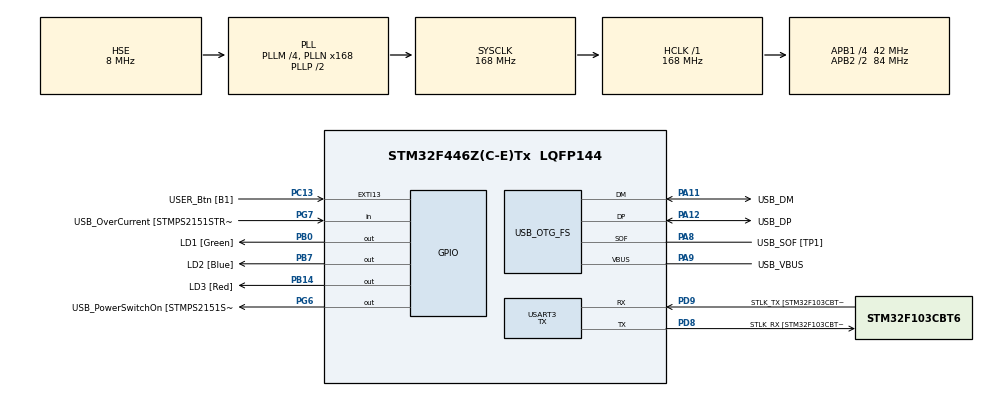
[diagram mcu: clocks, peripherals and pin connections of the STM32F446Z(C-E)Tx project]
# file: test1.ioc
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Dma.Request0=USART3_TX
Dma.USART3_TX.0.Direction=DMA_MEMORY_TO_PERIPH
Dma.USART3_TX.0.FIFOMode=DMA_FIFOMODE_DISABLE
Dma.USART3_TX.0.Instance=DMA1_Stream3
Dma.USART3_TX.0.MemDataAlignment=DMA_MDATAALIGN_BYTE
Dma.USART3_TX.0.MemInc=DMA_MINC_ENABLE
Dma.USART3_TX.0.Mode=DMA_NORMAL
Dma.USART3_TX.0.PeriphDataAlignment=DMA_PDATAALIGN_BYTE
Dma.USART3_TX.0.PeriphInc=DMA_PINC_DISABLE
Dma.USART3_TX.0.Priority=DMA_PRIORITY_VERY_HIGH
Mcu.Family=STM32F4
Mcu.Name=STM32F446Z(C-E)Tx
Mcu.Package=LQFP144
NVIC.DMA1_Stream3_IRQn=true\:0\:0\:false\:false\:true\:false\:true
NVIC.PriorityGroup=NVIC_PRIORITYGROUP_4
PA10.GPIO_Label=USB_ID
PA10.Signal=USB_OTG_FS_ID
PA11.GPIO_Label=USB_DM
PA11.Mode=Device_Only
PA11.Signal=USB_OTG_FS_DM
PA12.GPIO_Label=USB_DP
PA12.Mode=Device_Only
PA12.Signal=USB_OTG_FS_DP
PA13.GPIO_Label=TMS
PA13.Mode=Serial_Wire
PA13.Signal=SYS_JTMS-SWDIO
PA14.GPIO_Label=TCK
PA14.Mode=Serial_Wire
PA14.Signal=SYS_JTCK-SWCLK
PA8.GPIO_Label=USB_SOF [TP1]
PA8.Mode=Activate_SOF_FS
PA8.Signal=USB_OTG_FS_SOF
PA9.GPIO_Label=USB_VBUS
PA9.Mode=Activate_VBUS
PA9.Signal=USB_OTG_FS_VBUS
PB0.GPIO_Label=LD1 [Green]
PB0.Signal=GPIO_Output
PB14.GPIO_Label=LD3 [Red]
PB14.Signal=GPIO_Output
PB7.GPIO_Label=LD2 [Blue]
PB7.Signal=GPIO_Output
PC13.GPIO_Label=USER_Btn [B1]
PC13.Signal=GPXTI13
PC14-OSC32_IN.Mode=LSE-External-Oscillator
PC14-OSC32_IN.Signal=RCC_OSC32_IN
PC15-OSC32_OUT.Mode=LSE-External-Oscillator
PC15-OSC32_OUT.Signal=RCC_OSC32_OUT
PD8.GPIO_Label=STLK_RX [STM32F103CBT6_PA3]
PD8.Mode=Asynchronous
PD8.Signal=USART3_TX
PD9.GPIO_Label=STLK_TX [STM32F103CBT6_PA2]
PD9.Mode=Asynchronous
PD9.Signal=USART3_RX
PG6.GPIO_Label=USB_PowerSwitchOn [STMPS2151STR_EN]
PG6.Signal=GPIO_Output
PG7.GPIO_Label=USB_OverCurrent [STMPS2151STR_FAULT]
PG7.Signal=GPIO_Input
PH0-OSC_IN.GPIO_Label=MCO [STM32F103CBT6_PA8]
PH0-OSC_IN.Mode=HSE-External-Clock-Source
PH0-OSC_IN.Signal=RCC_OSC_IN
PH1-OSC_OUT.Mode=HSE-External-Clock-Source
PH1-OSC_OUT.Signal=RCC_OSC_OUT
ProjectManager.HeapSize=0x200
ProjectManager.StackSize=0x400
ProjectManager.TargetToolchain=STM32CubeIDE
RCC.48MHZClocksFreq_Value=24000000
RCC.AHBFreq_Value=168000000
RCC.APB1CLKDivider=RCC_HCLK_DIV4
RCC.APB1Freq_Value=42000000
RCC.APB1TimFreq_Value=84000000
RCC.APB2CLKDivider=RCC_HCLK_DIV2
RCC.APB2Freq_Value=84000000
RCC.APB2TimFreq_Value=168000000
RCC.CortexFreq_Value=168000000
RCC.HCLKFreq_Value=168000000
RCC.HSE_VALUE=8000000
RCC.HSI_VALUE=16000000
RCC.PLLM=4
RCC.PLLMUL=RCC_PLL_MUL9
RCC.PLLN=168
RCC.PLLQ=7
RCC.PRESCALERUSB=RCC_USBCLKSOURCE_PLL_DIV1_5
RCC.SYSCLKFreq_VALUE=168000000
RCC.SYSCLKSource=RCC_SYSCLKSOURCE_PLLCLK
RCC.SYSCLKSourceVirtual=RCC_SYSCLKSOURCE_PLLCLK
RCC.USBFreq_Value=48000000
RCC.VCOOutputFreq_Value=336000000
USART3.Mode=MODE_TX
USART3.VirtualMode=VM_ASYNC
USB_OTG_FS.VirtualMode=Device_Only
board=NUCLEO-F446ZE

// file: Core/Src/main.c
/* USER CODE BEGIN Header */
/**
  ******************************************************************************
  * @file           : main.c
  * @brief          : Main program body
  ******************************************************************************
  * @attention
  *
  * <h2><center>&copy; Copyright (c) 2022 STMicroelectronics.
  * All rights reserved.</center></h2>
  *
  * This software component is licensed by ST under BSD 3-Clause license,
  * the "License"; You may not use this file except in compliance with the
  * License. You may obtain a copy of the License at:
  *                        opensource.org/licenses/BSD-3-Clause
  *
  ******************************************************************************
  */
/* USER CODE END Header */
#include "main.h"

/* USER CODE BEGIN Includes */
#include <string.h>
/* USER CODE END Includes */

UART_HandleTypeDef huart3;
DMA_HandleTypeDef hdma_usart3_tx;

PCD_HandleTypeDef hpcd_USB_OTG_FS;

void SystemClock_Config(void);
static void MX_GPIO_Init(void);
static void MX_USART3_UART_Init(void);
static void MX_DMA_Init(void);
static void MX_USB_OTG_FS_PCD_Init(void);

/* USER CODE BEGIN 0 */
void DMA_Complete(DMA_HandleTypeDef *hdma) {
    huart3.Instance->CR3 &= ~USART_CR3_DMAT;
    // working call-back should toggle the blue led
    HAL_GPIO_TogglePin(GPIOB, GPIO_PIN_7);
}
/* USER CODE END 0 */

int main(void)
{
  /* USER CODE BEGIN 1 */
  char data[] = "I met a traveller from an antique land,\r\n" \
            "Who said—“Two vast and trunkless legs of stone\r\n" \
            "Stand in the desert. . . . Near them, on the sand,\r\n" \
            "Half sunk a shattered visage lies, whose frown,\r\n" \
            "And wrinkled lip, and sneer of cold command,\r\n" \
            "Tell that its sculptor well those passions read\r\n" \
            "Which yet survive, stamped on these lifeless things,\r\n" \
            "The hand that mocked them, and the heart that fed;\r\n" \
            "And on the pedestal, these words appear:\r\n" \
            "My name is Ozymandias, King of Kings;\r\n" \
            "Look on my Works, ye Mighty, and despair!\r\n" \
            "Nothing beside remains. Round the decay\r\n" \
            "Of that colossal Wreck, boundless and bare\r\n" \
            "The lone and level sands stretch far away.\r\n";
  /* USER CODE END 1 */

  /* MCU Configuration--------------------------------------------------------*/

  /* Reset of all peripherals, Initializes the Flash interface and the Systick. */
  HAL_Init();

  /* Configure the system clock */
  SystemClock_Config();

  /* USER CODE BEGIN SysInit */
  // Note: in the below section there's a known cubemx codegen bug where MX_DMA_Init()
  // is placed after other initialization. move it so it looks as follows
  /*
   *   MX_GPIO_Init();
   *   MX_DMA_Init();
   *   MX_USART3_UART_Init(); (or other things using dma)
   *   etc...
   */
  // before wasting time messing with register config stuff
  /* USER CODE END SysInit */

  /* Initialize all configured peripherals */
  MX_GPIO_Init();
  MX_DMA_Init();
  MX_USART3_UART_Init();
  MX_USB_OTG_FS_PCD_Init();
  /* USER CODE BEGIN 2 */
  HAL_DMA_RegisterCallback(&hdma_usart3_tx, HAL_DMA_XFER_CPLT_CB_ID, &DMA_Complete);
  /* USER CODE END 2 */

  /* Infinite loop */
  /* USER CODE BEGIN WHILE */

  while (1) {
	// toggle the green led before starting DMA. Blue is toggled in a call-back after finishing.
    HAL_GPIO_TogglePin(GPIOB, GPIO_PIN_0);
    huart3.Instance->CR3 |= USART_CR3_DMAT;
    HAL_DMA_Start_IT(&hdma_usart3_tx, (uint32_t)data,
            (uint32_t)&huart3.Instance->DR, strlen(data));
    HAL_Delay(1000);
    /* USER CODE END WHILE */

  }
}

void SystemClock_Config(void)
{
  RCC_OscInitTypeDef RCC_OscInitStruct = {0};
  RCC_ClkInitTypeDef RCC_ClkInitStruct = {0};

  /** Configure the main internal regulator output voltage
  */
  __HAL_RCC_PWR_CLK_ENABLE();
  __HAL_PWR_VOLTAGESCALING_CONFIG(PWR_REGULATOR_VOLTAGE_SCALE1);
  /** Initializes the RCC Oscillators according to the specified parameters
  * in the RCC_OscInitTypeDef structure.
  */
  RCC_OscInitStruct.OscillatorType = RCC_OSCILLATORTYPE_HSE;
  RCC_OscInitStruct.HSEState = RCC_HSE_BYPASS;
  RCC_OscInitStruct.PLL.PLLState = RCC_PLL_ON;
  RCC_OscInitStruct.PLL.PLLSource = RCC_PLLSOURCE_HSE;
  RCC_OscInitStruct.PLL.PLLM = 4;
  RCC_OscInitStruct.PLL.PLLN = 168;
  RCC_OscInitStruct.PLL.PLLP = RCC_PLLP_DIV2;
  RCC_OscInitStruct.PLL.PLLQ = 7;
  RCC_OscInitStruct.PLL.PLLR = 2;
  if (HAL_RCC_OscConfig(&RCC_OscInitStruct) != HAL_OK)
  {
    Error_Handler();
  }
  /** Initializes the CPU, AHB and APB buses clocks
  */
  RCC_ClkInitStruct.ClockType = RCC_CLOCKTYPE_HCLK|RCC_CLOCKTYPE_SYSCLK
                              |RCC_CLOCKTYPE_PCLK1|RCC_CLOCKTYPE_PCLK2;
  RCC_ClkInitStruct.SYSCLKSource = RCC_SYSCLKSOURCE_PLLCLK;
  RCC_ClkInitStruct.AHBCLKDivider = RCC_SYSCLK_DIV1;
  RCC_ClkInitStruct.APB1CLKDivider = RCC_HCLK_DIV4;
  RCC_ClkInitStruct.APB2CLKDivider = RCC_HCLK_DIV2;

  if (HAL_RCC_ClockConfig(&RCC_ClkInitStruct, FLASH_LATENCY_5) != HAL_OK)
  {
    Error_Handler();
  }
}

static void MX_USART3_UART_Init(void)
{

  huart3.Instance = USART3;
  huart3.Init.BaudRate = 115200;
  huart3.Init.WordLength = UART_WORDLENGTH_8B;
  huart3.Init.StopBits = UART_STOPBITS_1;
  huart3.Init.Parity = UART_PARITY_NONE;
  huart3.Init.Mode = UART_MODE_TX;
  huart3.Init.HwFlowCtl = UART_HWCONTROL_NONE;
  huart3.Init.OverSampling = UART_OVERSAMPLING_16;
  if (HAL_UART_Init(&huart3) != HAL_OK)
  {
    Error_Handler();
  }

}

static void MX_USB_OTG_FS_PCD_Init(void)
{

  hpcd_USB_OTG_FS.Instance = USB_OTG_FS;
  hpcd_USB_OTG_FS.Init.dev_endpoints = 6;
  hpcd_USB_OTG_FS.Init.speed = PCD_SPEED_FULL;
  hpcd_USB_OTG_FS.Init.dma_enable = DISABLE;
  hpcd_USB_OTG_FS.Init.phy_itface = PCD_PHY_EMBEDDED;
  hpcd_USB_OTG_FS.Init.Sof_enable = ENABLE;
  hpcd_USB_OTG_FS.Init.low_power_enable = DISABLE;
  hpcd_USB_OTG_FS.Init.lpm_enable = DISABLE;
  hpcd_USB_OTG_FS.Init.vbus_sensing_enable = ENABLE;
  hpcd_USB_OTG_FS.Init.use_dedicated_ep1 = DISABLE;
  if (HAL_PCD_Init(&hpcd_USB_OTG_FS) != HAL_OK)
  {
    Error_Handler();
  }

}

static void MX_DMA_Init(void)
{

  /* DMA controller clock enable */
  __HAL_RCC_DMA1_CLK_ENABLE();

  /* DMA interrupt init */
  /* DMA1_Stream3_IRQn interrupt configuration */
  HAL_NVIC_SetPriority(DMA1_Stream3_IRQn, 0, 0);
  HAL_NVIC_EnableIRQ(DMA1_Stream3_IRQn);

}

static void MX_GPIO_Init(void)
{
  GPIO_InitTypeDef GPIO_InitStruct = {0};

  /* GPIO Ports Clock Enable */
  __HAL_RCC_GPIOC_CLK_ENABLE();
  __HAL_RCC_GPIOH_CLK_ENABLE();
  __HAL_RCC_GPIOB_CLK_ENABLE();
  __HAL_RCC_GPIOD_CLK_ENABLE();
  __HAL_RCC_GPIOG_CLK_ENABLE();
  __HAL_RCC_GPIOA_CLK_ENABLE();

  /*Configure GPIO pin Output Level */
  HAL_GPIO_WritePin(GPIOB, LD1_Pin|LD3_Pin|LD2_Pin, GPIO_PIN_RESET);

  /*Configure GPIO pin Output Level */
  HAL_GPIO_WritePin(USB_PowerSwitchOn_GPIO_Port, USB_PowerSwitchOn_Pin, GPIO_PIN_RESET);

  /*Configure GPIO pin : USER_Btn_Pin */
  GPIO_InitStruct.Pin = USER_Btn_Pin;
  GPIO_InitStruct.Mode = GPIO_MODE_IT_RISING;
  GPIO_InitStruct.Pull = GPIO_NOPULL;
  HAL_GPIO_Init(USER_Btn_GPIO_Port, &GPIO_InitStruct);

  /*Configure GPIO pins : LD1_Pin LD3_Pin LD2_Pin */
  GPIO_InitStruct.Pin = LD1_Pin|LD3_Pin|LD2_Pin;
  GPIO_InitStruct.Mode = GPIO_MODE_OUTPUT_PP;
  GPIO_InitStruct.Pull = GPIO_NOPULL;
  GPIO_InitStruct.Speed = GPIO_SPEED_FREQ_LOW;
  HAL_GPIO_Init(GPIOB, &GPIO_InitStruct);

  /*Configure GPIO pin : USB_PowerSwitchOn_Pin */
  GPIO_InitStruct.Pin = USB_PowerSwitchOn_Pin;
  GPIO_InitStruct.Mode = GPIO_MODE_OUTPUT_PP;
  GPIO_InitStruct.Pull = GPIO_NOPULL;
  GPIO_InitStruct.Speed = GPIO_SPEED_FREQ_LOW;
  HAL_GPIO_Init(USB_PowerSwitchOn_GPIO_Port, &GPIO_InitStruct);

  /*Configure GPIO pin : USB_OverCurrent_Pin */
  GPIO_InitStruct.Pin = USB_OverCurrent_Pin;
  GPIO_InitStruct.Mode = GPIO_MODE_INPUT;
  GPIO_InitStruct.Pull = GPIO_NOPULL;
  HAL_GPIO_Init(USB_OverCurrent_GPIO_Port, &GPIO_InitStruct);

}

void Error_Handler(void)
{
  __disable_irq();
  while (1)
  {
  }
}
